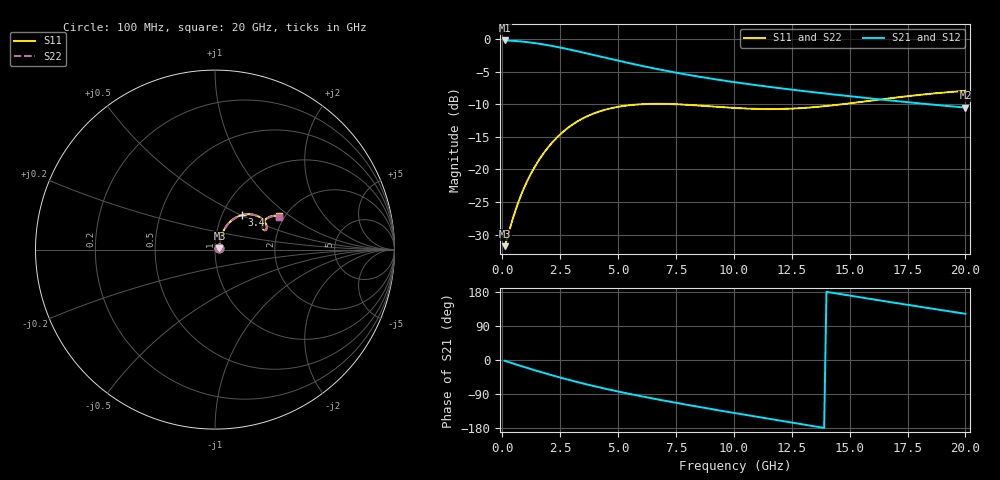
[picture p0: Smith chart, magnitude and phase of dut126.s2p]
! Touchstone file exported from HFSS 2024.1.0
!  File:  C:/UserFiles/LocalFiles/RDL_TSV_Batchsim/temp_RDL_TSV_126_1779426027.aedt
!  Generated:  01:14:35 PM May 22, 2026
!  Design:  RDL_TSV
!  Project:  temp_RDL_TSV_126_1779426027
!  Setup:  Setup1
!  Solution:  Sweep
! Variables:
!  dtsv = 8.85um
!  hbump = 3um
!  htsv = 80.54um
!  ldown = 675.76um
!  lrdl = 344.72um
!  p = 40
!  p1 = 44.23um
!  rhole = 10um
!  subl = 3406.16um
!  t = 450um
!  tdown = 4.6um
!  trdl = 3.46um
!  viad = 10um
!  wdown = 14.4um
!  wrdl = 10.31um
!  xbump = 18um
# GHz S MA R 50.000000
! Terminal data exported
! Port[1] = TM1_1_T1
! Port[2] = TM1_4_T1
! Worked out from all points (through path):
!   200 points, 100 MHz to 20 GHz, reference 50 ohm
!   highest |S21| = -0.22 dB at 100 MHz (marker M1); lowest = -10.5 dB at 20 GHz (marker M2)
!   group delay of S21, straight-line fit = 31.2 ps
!   lowest |S11| = -31.8 dB at 100 MHz (marker M3), VSWR 1.05, Z = 52.5 + j0.769 ohm
!   |S11| at or under -10 dB: start of sweep to 6.021 GHz; 7.503 GHz to 14.69 GHz (7.182 GHz wide, 64.7 % of centre)
!   |S22| runs from -31.8 to -8.0 dB; largest |S21 - S12| = 2.2e-14
!   S11 on the Smith chart (normalised r, x): 100 MHz: 1.05, +0.02; 3.4 GHz: 1.23, +0.50; 20 GHz: 1.86, +0.82
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0.1  0.0258 16.5  0.9751 -2.0  0.9751 -2.0  0.0258 16.5
! Gamma 0 0 0 0
! Port Impedance 50 0 50 0
0.5  0.04449 50.8  0.9677 -9.9  0.9677 -9.9  0.04449 50.8
0.8  0.06284 59.9  0.9584 -15.7  0.9584 -15.7  0.06283 59.9
1.1  0.08305 64.0  0.9461 -21.4  0.9461 -21.4  0.08304 64.0
1.5  0.1119 65.5  0.9258 -28.8  0.9258 -28.8  0.1119 65.5
1.9  0.1418 64.5  0.9016 -36.0  0.9016 -36.0  0.1418 64.5
2.4  0.1786 61.3  0.8676 -44.6  0.8676 -44.6  0.1786 61.3
2.9  0.2126 57.0  0.8313 -52.8  0.8313 -52.8  0.2125 57.0
3.4  0.2422 52.3  0.7943 -60.6  0.7943 -60.6  0.2421 52.3
3.5  0.2475 51.4  0.787 -62.1  0.787 -62.1  0.2474 51.4
4.2  0.2786 44.9  0.7365 -72.3  0.7365 -72.3  0.2786 44.8
5.1  0.3041 37.4  0.6766 -84.4  0.6766 -84.4  0.3041 37.4
5.9  0.3153 31.9  0.6294 -94.4  0.6294 -94.4  0.3154 31.9
6.8  0.3185 27.1  0.5834 -105.1  0.5834 -105.1  0.3187 27.1
8.4  0.3098 22.1  0.5177 -122.8  0.5177 -122.8  0.3102 22.1
10.1  0.2957 21.4  0.4649 -140.6  0.4649 -140.6  0.2961 21.3
11.7  0.2903 24.0  0.4259 -157.0  0.4259 -157.0  0.2907 23.9
13.4  0.2996 27.9  0.3918 -174.1  0.3918 -174.1  0.2999 27.7
15  0.3212 30.5  0.3643 170.0  0.3643 170.0  0.3212 30.2
16.7  0.3505 31.1  0.3387 153.3  0.3387 153.3  0.3504 30.8
18.3  0.3775 29.9  0.3175 138.0  0.3175 138.0  0.3771 29.7
20  0.4004 27.6  0.298 122.0  0.298 122.0  0.3999 27.4
